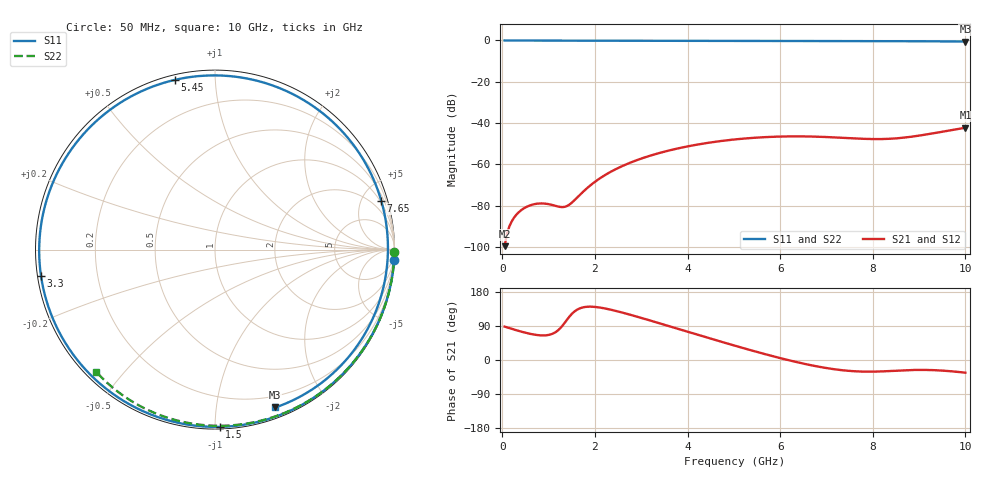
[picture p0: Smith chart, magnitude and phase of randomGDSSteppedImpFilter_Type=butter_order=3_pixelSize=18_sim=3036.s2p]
! freq	dB(S11)	phase(S11)	dB(S12)	phase(S12)
!  dB(S21)	phase(S21)	dB(S22)	phase(S22)
!S-par simulation data
#  GHz  S  DB  R 50
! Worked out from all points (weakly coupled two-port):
!   200 points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, 50 MHz to 10 GHz, reference 50 ohm
!   highest |S21| = -42.24 dB at 10 GHz (marker M1); lowest = -99.5 dB at 50 MHz (marker M2)
!   lowest |S11| = -0.5 dB at 10 GHz (marker M3), VSWR 33.24, Z = 4.67 - j72.4 ohm
!   |S11| at or under -10 dB: nowhere
!   |S22| runs from -0.4 to 0.0 dB; largest |S21 - S12| = 0
!   S11 on the Smith chart (normalised r, x): 50 MHz: 0, -36; 1.5 GHz: 0.01, -1.03; 3.3 GHz: 0.01, -0.08; 5.45 GHz: 0.02, +0.79; 7.65 GHz: 0.86, +6.87; 10 GHz: 0.09, -1.45
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0.05  -0.00 -3.2  -99.55 88.1  -99.55 88.1  -0.00 -0.8
0.4  -0.04 -25.0  -82.27 75.2  -82.27 75.2  -0.01 -6.2
0.8  -0.06 -49.2  -78.90 65.2  -78.90 65.2  -0.02 -12.3
1.1  -0.08 -66.6  -79.73 70.1  -79.73 70.1  -0.02 -16.8
1.4  -0.10 -83.2  -80.10 106.7  -80.10 106.7  -0.03 -21.4
1.5  -0.10 -88.5  -78.53 121.4  -78.53 121.4  -0.03 -22.9
1.75  -0.12 -101.5  -73.11 139.1  -73.11 139.1  -0.03 -26.6
2.1  -0.13 -118.7  -66.83 138.6  -66.83 138.6  -0.04 -31.9
2.55  -0.15 -139.4  -61.21 126.5  -61.21 126.5  -0.05 -38.5
2.9  -0.16 -154.6  -57.97 114.7  -57.97 114.7  -0.06 -43.6
3.3  -0.17 -171.4  -55.04 100.3  -55.04 100.3  -0.06 -49.3
3.4  -0.17 -175.5  -54.41 96.7  -54.41 96.7  -0.07 -50.7
4.2  -0.20 152.6  -50.44 67.4  -50.44 67.4  -0.09 -61.9
5.05  -0.24 119.1  -47.83 36.8  -47.83 36.8  -0.11 -73.4
5.45  -0.25 103.3  -47.08 22.9  -47.08 22.9  -0.13 -78.7
6.05  -0.27 79.5  -46.48 3.5  -46.48 3.5  -0.15 -86.5
6.7  -0.28 53.6  -46.51 -14.6  -46.51 -14.6  -0.18 -94.7
7.2  -0.29 33.8  -46.94 -24.9  -46.94 -24.9  -0.21 -100.8
7.65  -0.31 16.3  -47.46 -30.0  -47.46 -30.0  -0.24 -106.3
8.35  -0.34 -10.1  -47.59 -29.2  -47.59 -29.2  -0.29 -114.7
9.25  -0.41 -42.7  -45.14 -26.5  -45.14 -26.5  -0.37 -125.3
10  -0.52 -69.1  -42.24 -33.5  -42.24 -33.5  -0.45 -134.1
